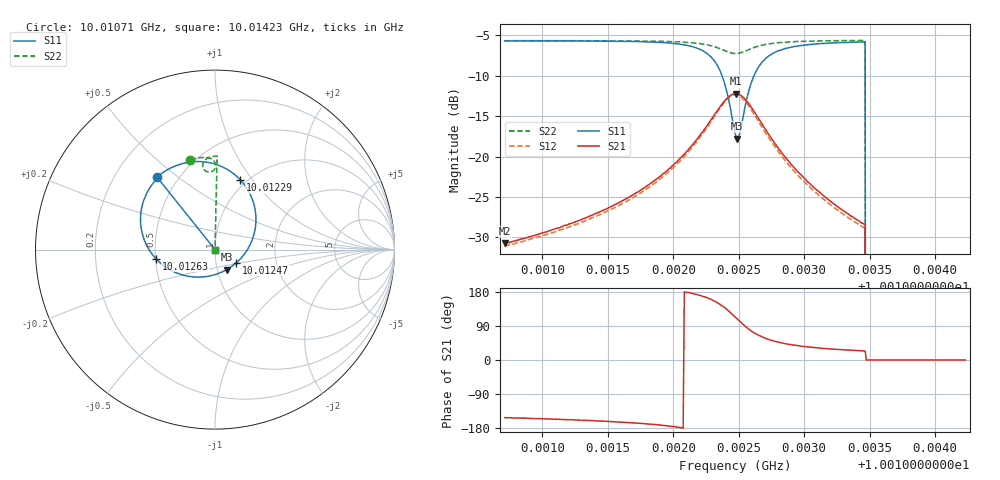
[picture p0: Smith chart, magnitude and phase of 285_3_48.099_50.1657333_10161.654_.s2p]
#  HZ  S  RI  R  50.00
! Rohde & Schwarz Vector Network Analyzer
! Rohde-Schwarz,ZNB20-2Port,1311601062101988,3.16
! Created: UTC 12/23/2023, 4:03:11 AM
! freq[Hz]  re:S11  im:S11  re:S21  im:S21  re:S12  im:S12  re:S22  im:S22
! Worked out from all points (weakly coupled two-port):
!   401 points, 10.01071 GHz to 10.01423 GHz, reference 50 ohm
!   highest |S21| = -12.23 dB at 10.01248 GHz (marker M1); lowest = -30.7 dB at 10.01071 GHz (marker M2)
!   lowest |S11| = -17.8 dB at 10.01249 GHz (marker M3), VSWR 1.30, Z = 55.5 - j12.6 ohm
!   |S11| at or under -10 dB: 10.01237 GHz to 10.01262 GHz (244.7 kHz wide, 0.00244 % of centre); 10.01347 GHz to end of sweep
!   |S22| runs from - to -5.7 dB; largest |S21 - S12| = 0.011
!   S11 on the Smith chart (normalised r, x): 10.01071 GHz: 0.38, +0.42; 10.01229 GHz: 0.93, +0.87; 10.01247 GHz: 1.26, -0.19; 10.01263 GHz: 0.50, -0.06; 10.01423 GHz: 1.00, +0.00
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1.0010711e10  -0.3225 0.406  -0.0257 -0.0136  -0.024 -0.0143  -0.1375 0.5012
1.0011301e10  -0.265 0.4451  -0.0382 -0.0147  -0.0359 -0.0159  -0.0969 0.5105
1.0011627e10  -0.2138 0.4689  -0.0522 -0.0146  -0.0493 -0.0166  -0.0717 0.5137
1.0011891e10  -0.1435 0.487  -0.0736 -0.0113  -0.0703 -0.0147  -0.048 0.5133
1.0012146e10  -0.00375 0.4775  -0.1177 0.00874  -0.1144 0.00203  -0.0185 0.5044
1.0012287e10  0.1407 0.389  -0.1579 0.0567  -0.1572 0.0466  9.93e-05 0.4845
1.0012348e10  0.2071 0.2831  -0.1695 0.1029  -0.1716 0.092  0.00363 0.4673
1.0012392e10  0.2281 0.1681  -0.1651 0.1462  -0.1691 0.1363  -0.00023 0.452
1.0012436e10  0.1969 0.0298  -0.1382 0.1941  -0.1433 0.1859  -0.0122 0.438
1.0012472e10  0.1194 -0.073  -0.0985 0.2238  -0.105 0.2161  -0.0275 0.4322
1.001248e10  0.0943 -0.093  -0.0874 0.2286  -0.0937 0.2212  -0.0317 0.4318
1.0012489e10  0.0656 -0.1113  -0.0749 0.2325  -0.0813 0.225  -0.0359 0.4322
1.0012516e10  -0.0232 -0.1456  -0.0398 0.2358  -0.0438 0.2292  -0.0476 0.4355
1.0012551e10  -0.1446 -0.1493  0.00555 0.2252  -0.000277 0.2186  -0.0597 0.4446
1.001263e10  -0.3296 -0.0503  0.065 0.171  0.0574 0.1661  -0.0686 0.4705
1.0012709e10  -0.3997 0.0702  0.0799 0.121  0.0722 0.118  -0.0629 0.4896
1.0012815e10  -0.4147 0.1856  0.0756 0.0787  0.0691 0.0777  -0.05 0.5041
1.0013061e10  -0.3788 0.3173  0.0549 0.0364  0.0507 0.0369  -0.023 0.5166
1.0013448e10  -0.3215 0.3967  0.0354 0.0157  0.0328 0.0166  0.0106 0.5213
1.0013492e10  0 0  0 0  0 0  0 0
1.0013651e10  0 0  0 0  0 0  0 0
1.0014232e10  0 0  0 0  0 0  0 0
